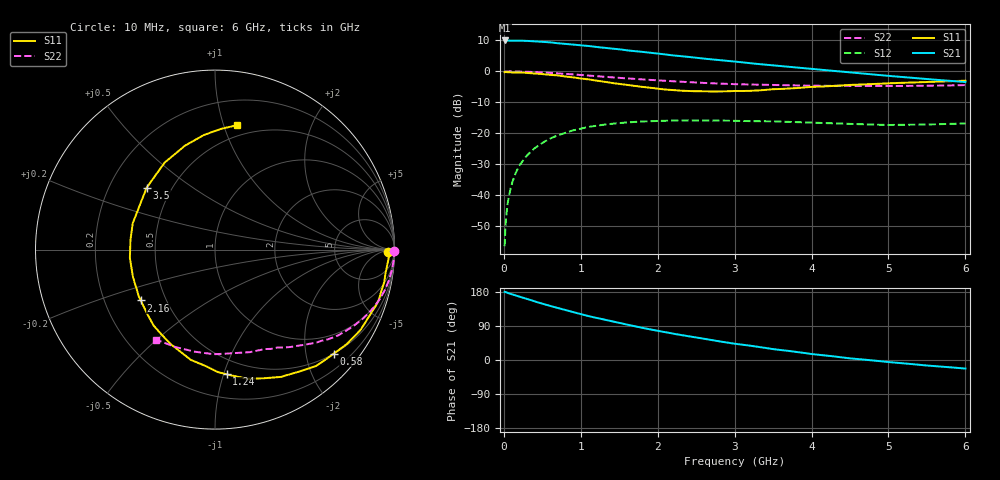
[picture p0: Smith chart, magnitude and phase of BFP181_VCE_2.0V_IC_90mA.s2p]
! Infineon Technologies  Discrete & RF Semiconductors
! BFP181
! VCE = 2.0 V,  IC =  90 mA
! Common Emitter S-Parameters:  Jan 2016
# GHz  S  MA  R  50
!  f  S11  S21  S12  S22
! GHz  MAG  ANG  MAG  ANG  MAG  ANG  MAG  ANG
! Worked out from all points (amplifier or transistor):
!   210 points, 10 MHz to 6 GHz, reference 50 ohm
!   highest |S21| = 10.0 dB at 10 MHz (marker M1)
!   |S21| within 3 dB of that: start of sweep to 1.545 GHz
!   unconditionally stable (mu >= 1): 3.084 GHz to end of sweep
!   at 185 MHz: K = 0.07, MSG = 20.6 dB, |S12| = -31.2 dB
!   at 1.52 GHz: K = 0.52, MSG = 11.9 dB, |S12| = -16.7 dB
!   at 6 GHz: K = 1.32, MAG = 3.3 dB, |S12| = -16.8 dB
!   S11 on the Smith chart (normalised r, x): 10 MHz: 48, -22; 580 MHz: 0.50, -2.58; 1.24 GHz: 0.38, -1.02; 2.16 GHz: 0.36, -0.27; 3.5 GHz: 0.36, +0.34; 6 GHz: 0.40, +1.11
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0.01  0.9658 -0.9  3.149 179.7  0.0015 82.3  0.9994 -0.3
0.02  0.9727 -1.5  3.142 179.4  0.0029 90.3  0.9918 -0.6
0.03  0.9708 -2.1  3.141 178.6  0.0044 90.5  0.9935 -1.0
0.05  0.9673 -3.4  3.142 176.9  0.0074 90.7  0.997 -1.7
0.09  0.9604 -6.5  3.122 174.3  0.0131 84.7  0.9971 -3.1
0.155  0.9594 -11.1  3.112 170.2  0.0229 81.8  0.9938 -5.2
0.3  0.9405 -21.6  3.1 161.6  0.0435 75.6  0.9839 -10.1
0.4  0.9266 -28.8  3.05 154.7  0.0572 71.2  0.9731 -13.3
0.58  0.8806 -41.1  2.954 143.9  0.0794 62.7  0.9474 -18.9
0.8  0.8237 -55.8  2.786 131.6  0.1017 53.6  0.9095 -25.0
1.02  0.7604 -70.7  2.607 120.1  0.1204 45.3  0.8696 -30.4
1.24  0.6975 -84.7  2.444 109.5  0.1343 37.5  0.83 -35.5
1.58  0.6077 -106.7  2.197 94.2  0.1487 28.5  0.7731 -41.7
2.02  0.5205 -136.5  1.924 76.3  0.1587 18.6  0.7111 -48.7
2.16  0.5013 -145.6  1.831 71.1  0.16 15.9  0.6947 -51.0
2.4  0.4819 -161.6  1.711 62.6  0.1611 11.5  0.6696 -54.6
2.78  0.4734 174.7  1.528 49.9  0.1603 6.2  0.6371 -60.1
3.1  0.4806 157.1  1.394 40.5  0.1574 2.4  0.6156 -64.9
3.5  0.5139 137.8  1.249 28.7  0.1555 -1.2  0.6037 -71.1
4.1  0.5657 117.1  1.064 13.7  0.1466 -4.4  0.584 -82.4
5.1  0.6468 93.8  0.824 -7.1  0.1363 -4.4  0.5795 -103.5
6  0.7055 79.8  0.671 -22.6  0.1438 -0.9  0.5991 -123.2
